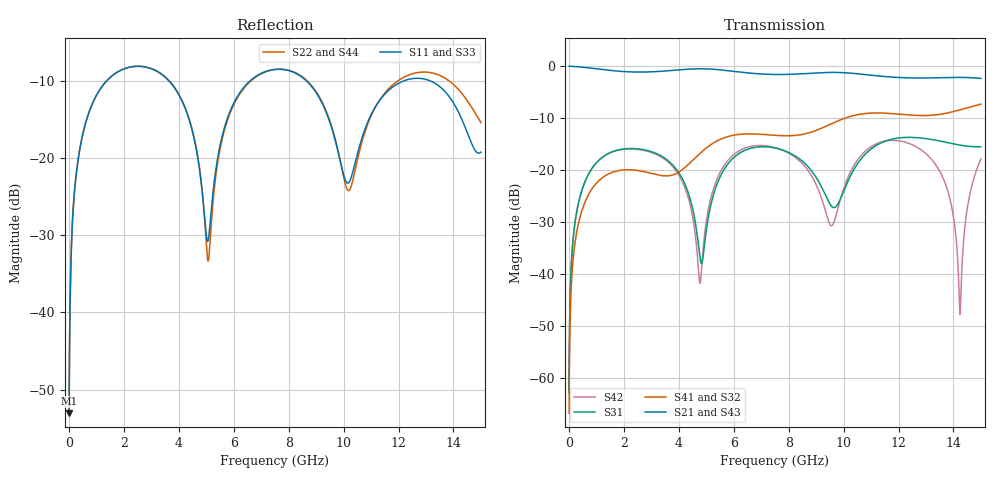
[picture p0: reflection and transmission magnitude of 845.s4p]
! Created with skrf 1.8.0 (http://scikit-rf.org).
# GHz S RI R 50.0
!freq ReS11 ImS11 ReS12 ImS12 ReS13 ImS13
! ReS14 ImS14
! ReS21 ImS21 ReS22 ImS22 ReS23 ImS23
! ReS24 ImS24
! ReS31 ImS31 ReS32 ImS32 ReS33 ImS33
! ReS34 ImS34
! ReS41 ImS41 ReS42 ImS42 ReS43 ImS43
! ReS44 ImS44
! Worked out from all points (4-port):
!   2499 points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, 5 MHz to 15 GHz, reference 50 ohm
!   strongest paths, dB at 5 MHz, 3.476 GHz, 7.19 GHz, 11.1 GHz, 15 GHz:
!     S21: 0.0, -1.0, -1.6, -1.8, -2.4
!     S43: 0.0, -1.0, -1.6, -1.8, -2.4
!     S41: -66.9, -21.2, -13.2, -9.0, -7.3
!     S32: -66.9, -21.2, -13.2, -9.1, -7.3
!     S31: -62.9, -17.7, -15.6, -15.6, -15.5
!     S42: -62.9, -17.9, -15.4, -15.2, -17.9
!   lowest |S11| = -53.1 dB at 5 MHz (marker M1), VSWR 1.00, Z = 50.2 + j0.135 ohm
!   |S11| at or under -10 dB: 3.631 GHz to 6.603 GHz (2.972 GHz wide, 58.1 % of centre); 8.638 GHz to 12.21 GHz (3.573 GHz wide, 34.3 % of centre); 13.13 GHz to end of sweep (the widest 3 of 4)
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0.005  0.00177 0.00135  0.9982 -0.00345  8.96e-05 0.000709  -8.7e-05 -0.000444
       0.9982 -0.00345  0.00177 0.00135  -8.7e-05 -0.000444  8.96e-05 0.000709
       8.96e-05 0.000709  -8.7e-05 -0.000444  0.00177 0.00135  0.9982 -0.00345
       -8.7e-05 -0.000444  8.96e-05 0.000709  0.9982 -0.00345  0.00177 0.00135
1.875782  0.3468 0.1232  0.3427 -0.8216  0.1553 0.0262  -0.0949 0.0287
          0.3427 -0.8216  0.348 0.1219  -0.0949 0.0285  0.1527 0.0326
          0.1553 0.0262  -0.0949 0.0285  0.3467 0.1231  0.3428 -0.8216
          -0.0949 0.0287  0.1527 0.0326  0.3428 -0.8216  0.3478 0.1219
4.770738  0.0406 -0.0689  -0.9092 -0.2451  -0.0126 -0.00682  -0.0323 0.1408
          -0.9092 -0.2451  0.0345 -0.074  -0.0336 0.1405  0.00807 2.5e-05
          -0.0126 -0.00682  -0.0336 0.1405  0.0395 -0.0674  -0.9094 -0.2448
          -0.0323 0.1408  0.00807 2.5e-05  -0.9094 -0.2448  0.0347 -0.0722
7.696957  0.3745 -0.00764  -0.0675 0.8269  0.1358 -0.0803  0.2089 -0.0458
          -0.0675 0.8269  0.3749 -0.00222  0.2089 -0.043  0.138 -0.0768
          0.1358 -0.0803  0.2089 -0.043  0.3766 -0.0062  -0.0685 0.8261
          0.2089 -0.0458  0.138 -0.0768  -0.0685 0.8261  0.3763 -0.00243
10.44185  0.0826 0.0491  0.8461 -0.0285  0.0316 0.1032  -0.0298 -0.3359
          0.8461 -0.0285  0.0728 0.0473  -0.0245 -0.336  0.0416 0.1099
          0.0316 0.1032  -0.0245 -0.336  0.0844 0.0478  0.8464 -0.0252
          -0.0298 -0.3359  0.0416 0.1099  0.8464 -0.0252  0.0705 0.0449
14.23718  0.1672 -0.0889  -0.4991 -0.5973  -0.1204 -0.1248  -0.2832 0.2522
          -0.4991 -0.5973  0.2286 -0.1444  -0.2907 0.2438  0.00403 0.000196
          -0.1204 -0.1248  -0.2907 0.2438  0.1631 -0.0946  -0.4943 -0.6013
          -0.2832 0.2522  0.00403 0.000196  -0.4943 -0.6013  0.234 -0.139
15  0.1071 0.0205  -0.7049 -0.2863  -0.1625 0.0382  -0.1571 0.4003
    -0.7049 -0.2863  0.1376 -0.0989  -0.1686 0.3968  0.0496 0.1171
    -0.1625 0.0382  -0.1686 0.3968  0.0999 0.0179  -0.7022 -0.2933
    -0.1571 0.4003  0.0496 0.1171  -0.7022 -0.2933  0.1434 -0.099
